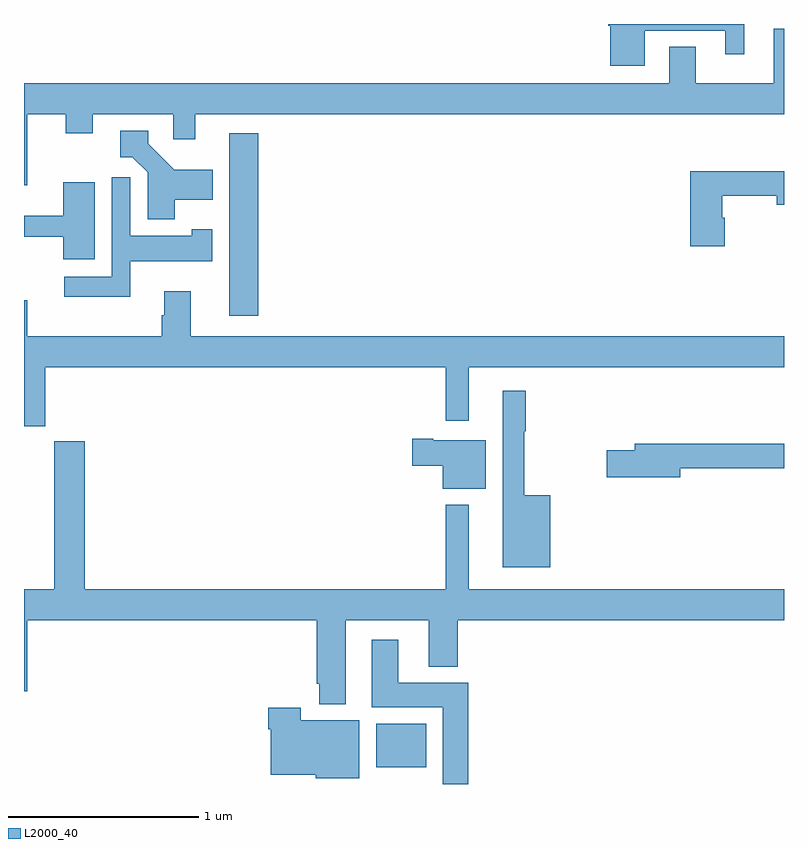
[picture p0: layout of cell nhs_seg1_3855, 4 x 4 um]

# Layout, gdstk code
import gdstk
lib = gdstk.Library(unit=1e-6, precision=1e-09)
def R(c, l, rs):  # rectangles x0, y0, x1, y1
    for r in rs: c.add(gdstk.rectangle(r[:2], r[2:], *l))
def P(c, l, *ps):  # polygons
    for p in ps: c.add(gdstk.Polygon(p, *l))
L2000_40 = (2000, 40)

nhs_seg1_3855 = lib.new_cell('nhs_seg1_3855')
R(nhs_seg1_3855, L2000_40, [(322.853,556.286,323.116,556.516), (322.079,558.663,322.232,559.624)])
P(nhs_seg1_3855, L2000_40, [(324.268,560.163),(324.692,560.163),(324.692,560.04),(324.79,560.04),(324.79,560.199),(324.074,560.199),(324.074,560.19),(324.086,560.19),(324.086,559.979),(324.268,559.979)],
  [(321.016,559.724),(321.221,559.724),(321.221,559.625),(321.361,559.625),(321.361,559.724),(321.786,559.724),(321.786,559.593),(321.901,559.593),(321.901,559.724),(325,559.724),(325,560.173),(324.947,560.173),(324.947,559.888),(324.535,559.888),(324.535,560.078),(324.395,560.078),(324.395,559.888),(321,559.888),(321,559.35),(321.016,559.35)],
  [(321.793,559.274),(321.994,559.274),(321.994,559.432),(321.791,559.432),(321.654,559.569),(321.654,559.636),(321.507,559.636),(321.507,559.499),(321.571,559.499),(321.651,559.419),(321.651,559.172),(321.793,559.172)],
  [(324.689,559.179),(324.676,559.179),(324.676,559.294),(324.962,559.294),(324.962,559.247),(325,559.247),(325,559.423),(324.506,559.423),(324.506,559.029),(324.689,559.029)],
  [(321.559,558.95),(321.99,558.95),(321.99,559.12),(321.882,559.12),(321.882,559.084),(321.558,559.084),(321.558,559.392),(321.462,559.392),(321.462,558.868),(321.213,558.868),(321.213,558.764),(321.559,558.764)],
  [(321.373,559.366),(321.206,559.366),(321.206,559.189),(321,559.189),(321,559.08),(321.206,559.08),(321.206,558.96),(321.373,558.96)],
  [(321.112,558.392),(323.22,558.392),(323.22,558.111),(323.341,558.111),(323.341,558.392),(325,558.392),(325,558.556),(321.877,558.556),(321.877,558.793),(321.737,558.793),(321.737,558.666),(321.725,558.666),(321.725,558.556),(321.016,558.556),(321.016,558.745),(321,558.745),(321,558.083),(321.112,558.083)],
  [(323.77,557.719),(323.633,557.719),(323.633,558.055),(323.641,558.055),(323.641,558.268),(323.519,558.268),(323.519,557.339),(323.77,557.339)],
  [(323.431,558.007),(323.155,558.007),(323.155,558.015),(323.043,558.015),(323.043,557.873),(323.204,557.873),(323.204,557.753),(323.431,557.753)],
  [(322.693,557.06),(323.129,557.06),(323.129,556.817),(323.282,556.817),(323.282,557.06),(325,557.06),(325,557.224),(323.341,557.224),(323.341,557.668),(323.22,557.668),(323.22,557.224),(321.32,557.224),(321.32,558.004),(321.16,558.004),(321.16,557.224),(321,557.224),(321,556.686),(321.016,556.686),(321.016,557.06),(322.541,557.06),(322.541,556.726),(322.553,556.726),(322.553,556.619),(322.693,556.619)],
  [(324.454,557.86),(325,557.86),(325,557.989),(324.215,557.989),(324.215,557.955),(324.066,557.955),(324.066,557.813),(324.454,557.813)],
  [(323.339,556.732),(322.969,556.732),(322.969,556.957),(322.829,556.957),(322.829,556.604),(323.204,556.604),(323.204,556.199),(323.339,556.199)],
  [(322.765,556.534),(322.456,556.534),(322.456,556.6),(322.286,556.6),(322.286,556.487),(322.298,556.487),(322.298,556.247),(322.536,556.247),(322.536,556.229),(322.765,556.229)])

lib.write_gds('nhs_seg1_3855.gds')
